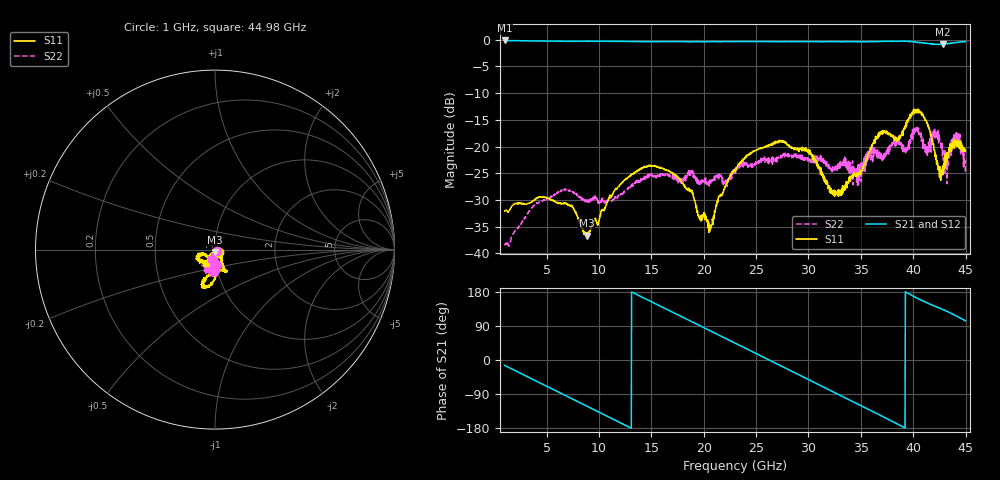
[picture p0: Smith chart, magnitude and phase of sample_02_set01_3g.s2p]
!Keysight Technologies,N5247B,MY61255062,A.19.80.06
!Date: Friday, March 13, 2026 18:01:13
!Correction: S11(C  2-Port  )
!S21(C  2-Port  )
!S12(C  2-Port  )
!S22(C  2-Port  )
!S2P File: Measurements: S11, S21, S12, S22:
# Hz S  dB  R 50
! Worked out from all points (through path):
!   1467 points, 1 GHz to 44.98 GHz, reference 50 ohm
!   highest |S21| = -0.13 dB at 1 GHz (marker M1); lowest = -0.9 dB at 42.85 GHz (marker M2)
!   group delay of S21, straight-line fit = 38.1 ps
!   lowest |S11| = -36.7 dB at 8.83 GHz (marker M3), VSWR 1.03, Z = 49.8 - j1.45 ohm
!   |S11| at or under -10 dB: start of sweep to end of sweep
!   |S22| runs from -38.6 to -16.4 dB; largest |S21 - S12| = 0.0098
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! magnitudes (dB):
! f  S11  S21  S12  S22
! 1 GHz  -32.0  -0.1  -0.1  -38.2
! 4.9 GHz  -29.6  -0.2  -0.2  -29.9
! 7.39 GHz  -31.2  -0.3  -0.3  -28.2
! 8.35 GHz  -35.2  -0.3  -0.3  -30.0
! 8.83 GHz  -36.7  -0.3  -0.3  -30.0
! 12.34 GHz  -26.6  -0.3  -0.3  -28.6
! 15.67 GHz  -23.8  -0.3  -0.3  -25.4
! 18.76 GHz  -28.3  -0.4  -0.4  -24.4
! 20.59 GHz  -34.7  -0.3  -0.3  -27.0
! 22.99 GHz  -24.3  -0.3  -0.3  -24.1
! 27.16 GHz  -19.3  -0.4  -0.4  -22.0
! 30.34 GHz  -21.8  -0.3  -0.3  -22.1
! 32.92 GHz  -28.1  -0.4  -0.4  -24.2
! 34.78 GHz  -25.1  -0.4  -0.4  -27.1
! 37.66 GHz  -17.8  -0.3  -0.3  -21.4
! 40.57 GHz  -13.4  -0.5  -0.5  -17.2
! 41.23 GHz  -15.1  -0.7  -0.7  -20.9
! 42.25 GHz  -23.4  -0.9  -0.9  -17.5
! 42.85 GHz  -24.8  -0.9  -0.8  -20.7
! 43.24 GHz  -22.7  -0.8  -0.7  -26.9
! 44.17 GHz  -19.3  -0.5  -0.5  -18.3
! 44.98 GHz  -20.9  -0.3  -0.3  -24.8
